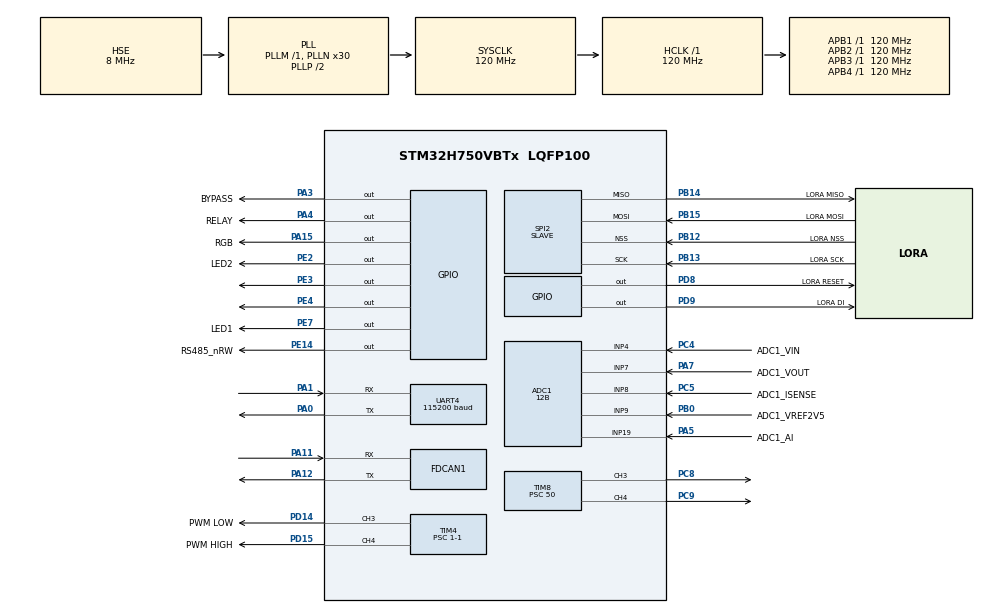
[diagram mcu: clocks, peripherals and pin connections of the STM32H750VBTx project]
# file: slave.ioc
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ADC1.Channel-5\#ChannelRegularConversion=ADC_CHANNEL_4
ADC1.Channel-6\#ChannelRegularConversion=ADC_CHANNEL_7
ADC1.Channel-7\#ChannelRegularConversion=ADC_CHANNEL_8
ADC1.Channel-8\#ChannelRegularConversion=ADC_CHANNEL_9
ADC1.Channel-9\#ChannelRegularConversion=ADC_CHANNEL_19
ADC1.ConversionDataManagement=ADC_CONVERSIONDATA_DMA_CIRCULAR
ADC1.EOCSelection=ADC_EOC_SEQ_CONV
ADC1.EnableAnalogWatchDog1=false
ADC1.NbrOfConversion=5
ADC1.NbrOfConversionFlag=1
ADC1.OffsetNumber-5\#ChannelRegularConversion=ADC_OFFSET_NONE
ADC1.OffsetNumber-6\#ChannelRegularConversion=ADC_OFFSET_NONE
ADC1.OffsetNumber-7\#ChannelRegularConversion=ADC_OFFSET_NONE
ADC1.OffsetNumber-8\#ChannelRegularConversion=ADC_OFFSET_NONE
ADC1.OffsetNumber-9\#ChannelRegularConversion=ADC_OFFSET_NONE
ADC1.OffsetSignedSaturation-5\#ChannelRegularConversion=DISABLE
ADC1.OffsetSignedSaturation-6\#ChannelRegularConversion=DISABLE
ADC1.OffsetSignedSaturation-7\#ChannelRegularConversion=DISABLE
ADC1.OffsetSignedSaturation-8\#ChannelRegularConversion=DISABLE
ADC1.OffsetSignedSaturation-9\#ChannelRegularConversion=DISABLE
ADC1.Rank-5\#ChannelRegularConversion=1
ADC1.Rank-6\#ChannelRegularConversion=2
ADC1.Rank-7\#ChannelRegularConversion=3
ADC1.Rank-8\#ChannelRegularConversion=4
ADC1.Rank-9\#ChannelRegularConversion=5
ADC1.Resolution=ADC_RESOLUTION_12B
ADC1.SamplingTime-5\#ChannelRegularConversion=ADC_SAMPLETIME_64CYCLES_5
ADC1.SamplingTime-6\#ChannelRegularConversion=ADC_SAMPLETIME_64CYCLES_5
ADC1.SamplingTime-7\#ChannelRegularConversion=ADC_SAMPLETIME_64CYCLES_5
ADC1.SamplingTime-8\#ChannelRegularConversion=ADC_SAMPLETIME_64CYCLES_5
ADC1.SamplingTime-9\#ChannelRegularConversion=ADC_SAMPLETIME_64CYCLES_5
ADC1.master=1
CORTEX_M7.default_mode_Activation=1
Dma.ADC1.0.Direction=DMA_PERIPH_TO_MEMORY
Dma.ADC1.0.EventEnable=DISABLE
Dma.ADC1.0.FIFOMode=DMA_FIFOMODE_DISABLE
Dma.ADC1.0.Instance=DMA1_Stream0
Dma.ADC1.0.MemDataAlignment=DMA_MDATAALIGN_HALFWORD
Dma.ADC1.0.MemInc=DMA_MINC_ENABLE
Dma.ADC1.0.Mode=DMA_CIRCULAR
Dma.ADC1.0.PeriphDataAlignment=DMA_PDATAALIGN_HALFWORD
Dma.ADC1.0.PeriphInc=DMA_PINC_DISABLE
Dma.ADC1.0.Polarity=HAL_DMAMUX_REQ_GEN_RISING
Dma.ADC1.0.Priority=DMA_PRIORITY_VERY_HIGH
Dma.ADC1.0.RequestNumber=1
Dma.ADC1.0.SignalID=NONE
Dma.ADC1.0.SyncEnable=DISABLE
Dma.ADC1.0.SyncPolarity=HAL_DMAMUX_SYNC_NO_EVENT
Dma.ADC1.0.SyncRequestNumber=1
Dma.ADC1.0.SyncSignalID=NONE
Dma.Request0=ADC1
Dma.Request1=UART4_TX
Dma.Request2=UART4_RX
Dma.UART4_RX.2.Direction=DMA_PERIPH_TO_MEMORY
Dma.UART4_RX.2.EventEnable=DISABLE
Dma.UART4_RX.2.FIFOMode=DMA_FIFOMODE_DISABLE
Dma.UART4_RX.2.Instance=DMA1_Stream2
Dma.UART4_RX.2.MemDataAlignment=DMA_MDATAALIGN_BYTE
Dma.UART4_RX.2.MemInc=DMA_MINC_ENABLE
Dma.UART4_RX.2.Mode=DMA_NORMAL
Dma.UART4_RX.2.PeriphDataAlignment=DMA_PDATAALIGN_BYTE
Dma.UART4_RX.2.PeriphInc=DMA_PINC_DISABLE
Dma.UART4_RX.2.Polarity=HAL_DMAMUX_REQ_GEN_RISING
Dma.UART4_RX.2.Priority=DMA_PRIORITY_LOW
Dma.UART4_RX.2.RequestNumber=1
Dma.UART4_RX.2.SignalID=NONE
Dma.UART4_RX.2.SyncEnable=DISABLE
Dma.UART4_RX.2.SyncPolarity=HAL_DMAMUX_SYNC_NO_EVENT
Dma.UART4_RX.2.SyncRequestNumber=1
Dma.UART4_RX.2.SyncSignalID=NONE
Dma.UART4_TX.1.Direction=DMA_MEMORY_TO_PERIPH
Dma.UART4_TX.1.EventEnable=DISABLE
Dma.UART4_TX.1.FIFOMode=DMA_FIFOMODE_DISABLE
Dma.UART4_TX.1.Instance=DMA1_Stream1
Dma.UART4_TX.1.MemDataAlignment=DMA_MDATAALIGN_BYTE
Dma.UART4_TX.1.MemInc=DMA_MINC_ENABLE
Dma.UART4_TX.1.Mode=DMA_NORMAL
Dma.UART4_TX.1.PeriphDataAlignment=DMA_PDATAALIGN_BYTE
Dma.UART4_TX.1.PeriphInc=DMA_PINC_DISABLE
Dma.UART4_TX.1.Polarity=HAL_DMAMUX_REQ_GEN_RISING
Dma.UART4_TX.1.Priority=DMA_PRIORITY_LOW
Dma.UART4_TX.1.RequestNumber=1
Dma.UART4_TX.1.SignalID=NONE
Dma.UART4_TX.1.SyncEnable=DISABLE
Dma.UART4_TX.1.SyncPolarity=HAL_DMAMUX_SYNC_NO_EVENT
Dma.UART4_TX.1.SyncRequestNumber=1
Dma.UART4_TX.1.SyncSignalID=NONE
FDCAN1.AutoRetransmission=ENABLE
FDCAN1.CalculateBaudRateNominal=166666
FDCAN1.CalculateTimeBitNominal=6000
FDCAN1.CalculateTimeQuantumNominal=2000.0
FDCAN1.RxFifo0ElmtsNbr=1
FDCAN1.StdFiltersNbr=1
FDCAN1.TxEventsNbr=4
Mcu.Family=STM32H7
Mcu.Name=STM32H750VBTx
Mcu.Package=LQFP100
NVIC.DMA1_Stream0_IRQn=true\:0\:0\:false\:false\:true\:false\:true\:true
NVIC.DMA1_Stream1_IRQn=true\:0\:0\:false\:false\:true\:false\:true\:true
NVIC.DMA1_Stream2_IRQn=true\:0\:0\:false\:false\:true\:false\:true\:true
NVIC.PriorityGroup=NVIC_PRIORITYGROUP_4
NVIC.TIM2_IRQn=true\:0\:0\:false\:false\:true\:true\:true\:true
NVIC.UART4_IRQn=true\:0\:0\:false\:false\:true\:true\:true\:true
PA0.GPIO_Speed=GPIO_SPEED_FREQ_VERY_HIGH
PA0.Mode=Asynchronous
PA0.Signal=UART4_TX
PA1.GPIO_Speed=GPIO_SPEED_FREQ_VERY_HIGH
PA1.Mode=Asynchronous
PA1.Signal=UART4_RX
PA11.Mode=FDCAN_Activate
PA11.Signal=FDCAN1_RX
PA12.Mode=FDCAN_Activate
PA12.Signal=FDCAN1_TX
PA13\ (JTMS/SWDIO).Mode=Serial_Wire
PA13\ (JTMS/SWDIO).Signal=DEBUG_JTMS-SWDIO
PA14\ (JTCK/SWCLK).Mode=Serial_Wire
PA14\ (JTCK/SWCLK).Signal=DEBUG_JTCK-SWCLK
PA15\ (JTDI).GPIO_Label=RGB
PA15\ (JTDI).Signal=GPIO_Output
PA3.GPIO_Label=BYPASS
PA3.Signal=GPIO_Output
PA4.GPIO_Label=RELAY
PA4.Signal=GPIO_Output
PA5.GPIO_Label=ADC1_AI
PA5.Signal=ADCx_INP19
PA7.GPIO_Label=ADC1_VOUT
PA7.Signal=ADCx_INP7
PB0.GPIO_Label=ADC1_VREF2V5
PB0.Signal=ADCx_INP9
PB12.GPIO_Label=LORA NSS
PB12.Mode=NSS_Signal_Hard_Input
PB12.Signal=SPI2_NSS
PB13.GPIO_Label=LORA SCK
PB13.Mode=Full_Duplex_Slave
PB13.Signal=SPI2_SCK
PB14.GPIO_Label=LORA MISO
PB14.Mode=Full_Duplex_Slave
PB14.Signal=SPI2_MISO
PB15.GPIO_Label=LORA MOSI
PB15.Mode=Full_Duplex_Slave
PB15.Signal=SPI2_MOSI
PC4.GPIO_Label=ADC1_VIN
PC4.Signal=ADCx_INP4
PC5.GPIO_Label=ADC1_ISENSE
PC5.Signal=ADCx_INP8
PC8.Signal=S_TIM8_CH3
PC9.Signal=S_TIM8_CH4
PD14.GPIO_Label=PWM LOW
PD14.Signal=S_TIM4_CH3
PD15.GPIO_Label=PWM HIGH
PD15.Signal=S_TIM4_CH4
PD8.GPIO_Label=LORA RESET
PD8.Signal=GPIO_Output
PD9.GPIO_Label=LORA DI
PD9.Signal=GPIO_Output
PE14.GPIO_Label=RS485_nRW
PE14.Signal=GPIO_Output
PE2.GPIO_Label=LED2
PE2.Signal=GPIO_Output
PE3.Signal=GPIO_Output
PE4.Signal=GPIO_Output
PE7.GPIO_Label=LED1
PE7.Signal=GPIO_Output
PH0-OSC_IN\ (PH0).Mode=HSE-External-Oscillator
PH0-OSC_IN\ (PH0).Signal=RCC_OSC_IN
PH1-OSC_OUT\ (PH1).Mode=HSE-External-Oscillator
PH1-OSC_OUT\ (PH1).Signal=RCC_OSC_OUT
ProjectManager.HeapSize=0x200
ProjectManager.StackSize=0x400
ProjectManager.TargetToolchain=MDK-ARM V5.32
RCC.ADCCLockSelection=RCC_ADCCLKSOURCE_CLKP
RCC.ADCFreq_Value=64000000
RCC.APB1Freq_Value=120000000
RCC.APB2Freq_Value=120000000
RCC.APB3Freq_Value=120000000
RCC.APB4Freq_Value=120000000
RCC.CortexFreq_Value=120000000
RCC.DIVM1=1
RCC.DIVM2=1
RCC.DIVN1=30
RCC.DIVN2=20
RCC.DIVQ1=3
RCC.DIVQ2=4
RCC.FDCANCLockSelection=RCC_FDCANCLKSOURCE_HSE
RCC.HCLKFreq_Value=120000000
RCC.HSE_VALUE=8000000
RCC.PLL2FRACN=0
RCC.PLL3FRACN=0
RCC.PLLFRACN=0
RCC.PLLSourceVirtual=RCC_PLLSOURCE_HSE
RCC.SYSCLKFreq_VALUE=120000000
RCC.SYSCLKSource=RCC_SYSCLKSOURCE_PLLCLK
RCC.USART234578CLockSelection=RCC_USART234578CLKSOURCE_PLL2
RCC.USBFreq_Value=80000000
SH.ADCx_INP19.0=ADC1_INP19,IN19-Single-Ended
SH.ADCx_INP4.0=ADC1_INP4,IN4-Single-Ended
SH.ADCx_INP7.0=ADC1_INP7,IN7-Single-Ended
SH.ADCx_INP8.0=ADC1_INP8,IN8-Single-Ended
SH.ADCx_INP9.0=ADC1_INP9,IN9-Single-Ended
SH.S_TIM4_CH3.0=TIM4_CH3,PWM Generation3 CH3
SH.S_TIM4_CH4.0=TIM4_CH4,PWM Generation4 CH4
SH.S_TIM8_CH3.0=TIM8_CH3,PWM Generation3 CH3
SH.S_TIM8_CH4.0=TIM8_CH4,PWM Generation4 CH4
SPI2.Direction=SPI_DIRECTION_2LINES
SPI2.Mode=SPI_MODE_SLAVE
SPI2.VirtualNSS=VM_NSSHARD
SPI2.VirtualType=VM_SLAVE
TIM2.Period=50-1
TIM2.Prescaler=60-1
TIM4.Channel-PWM\ Generation3\ CH3=TIM_CHANNEL_3
TIM4.Channel-PWM\ Generation4\ CH4=TIM_CHANNEL_4
TIM4.OCMode_PWM-PWM\ Generation4\ CH4=TIM_OCMODE_PWM2
TIM4.Period=1600-1
TIM4.Prescaler=1-1
TIM8.Channel-PWM\ Generation3\ CH3=TIM_CHANNEL_3
TIM8.Channel-PWM\ Generation4\ CH4=TIM_CHANNEL_4
TIM8.Prescaler=50
UART4.BaudRate=115200
UART4.FIFOMode=FIFOMODE_DISABLE
UART4.OverrunDisableParam=UART_ADVFEATURE_OVERRUN_ENABLE
VP_MEMORYMAP_VS_MEMORYMAP.Mode=CurAppReg
VP_TIM2_VS_ClockSourceINT.Mode=Internal
VP_TIM4_VS_ClockSourceINT.Mode=Internal
VP_TIM8_VS_ClockSourceINT.Mode=Internal
board=custom

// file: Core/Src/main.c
/* USER CODE BEGIN Header */
/**
  ******************************************************************************
  * @file           : main.c
  * @brief          : Main program body
  ******************************************************************************
  * @attention
  *
  * Copyright (c) 2026 STMicroelectronics.
  * All rights reserved.
  *
  * This software is licensed under terms that can be found in the LICENSE file
  * in the root directory of this software component.
  * If no LICENSE file comes with this software, it is provided AS-IS.
  *
  ******************************************************************************
  */
/* USER CODE END Header */
#include "main.h"

/* USER CODE BEGIN Includes */
#include "stdlib.h"
#include "stdio.h"
#include <string.h>
/* USER CODE END Includes */

ADC_HandleTypeDef hadc1;
DMA_HandleTypeDef hdma_adc1;

FDCAN_HandleTypeDef hfdcan1;

SPI_HandleTypeDef hspi2;

TIM_HandleTypeDef htim2;
TIM_HandleTypeDef htim4;
TIM_HandleTypeDef htim8;

UART_HandleTypeDef huart4;
DMA_HandleTypeDef hdma_uart4_tx;
DMA_HandleTypeDef hdma_uart4_rx;

/* USER CODE BEGIN PV */
const float f_base_Ts = 0.000025;
const float f_base_Tdk = 0.0001;
static uint32_t n = 0;
static uint32_t m = 0;
static uint8_t uart_tx_flag=0;
/* USER CODE END PV */

void SystemClock_Config(void);
void PeriphCommonClock_Config(void);
static void MPU_Config(void);
static void MX_GPIO_Init(void);
static void MX_DMA_Init(void);
static void MX_ADC1_Init(void);
static void MX_FDCAN1_Init(void);
static void MX_TIM2_Init(void);
static void MX_TIM4_Init(void);
static void MX_SPI2_Init(void);
static void MX_TIM8_Init(void);
static void MX_UART4_Init(void);
/* USER CODE BEGIN PFP */
machine_control mCtr;
machine_parameter mPara;
PWM PWM_Var;
//Controller
fuzzySet FzTi, FzAbsEk, FzKp;
cPI PIVarV, PIVarIb, PIVarIc;
SMC SMC_Ic;
ADC_Obj adc_Objt_var;
volatile uint16_t ADC_CH1[NumOfADC_Channel];
//LPF
/* Analog */
LPF LPF_Vin, LPF_Vout, LPF_I, LPF_Vdclink;
LPF LPF_AD_I_Offset;
/* Controller */
LPF LPF_DI;
//UART
usartData uart4_Tx, uart4_Rx;
UART_DATA uartdata;
/* USER CODE END PFP */

int main(void)
{

  /* MPU Configuration--------------------------------------------------------*/
  MPU_Config();

  /* MCU Configuration--------------------------------------------------------*/

  /* Reset of all peripherals, Initializes the Flash interface and the Systick. */
  HAL_Init();

  /* Configure the system clock */
  SystemClock_Config();

  /* Configure the peripherals common clocks */
  PeriphCommonClock_Config();

  /* Initialize all configured peripherals */
  MX_GPIO_Init();
  MX_DMA_Init();
  MX_ADC1_Init();
  MX_FDCAN1_Init();
  MX_TIM2_Init();
  MX_TIM4_Init();
  MX_SPI2_Init();
  MX_TIM8_Init();
  MX_UART4_Init();
  /* USER CODE BEGIN 2 */
MachineParameterConfig(&mPara);
	//LPF
	vLPF_Init(&LPF_Vin, 1000, f_base_Ts);
	vLPF_Init(&LPF_Vout, 1000, f_base_Ts);
	vLPF_Init(&LPF_Vdclink, 1000, f_base_Ts);
	vLPF_Init(&LPF_I, 1000, f_base_Ts);
	vLPF_Init(&LPF_AD_I_Offset, 1000, f_base_Ts);
	vLPF_Init(&LPF_DI, 2, f_base_Tdk);

	//PID
	vPI_Init(&PIVarV, f_base_Tdk, 0.0025, 0.004, 1, 50);
	vPI_Init(&PIVarIb, f_base_Tdk, 0.0024, 0.004, 1, 200);
	vPI_Init(&PIVarIc, f_base_Tdk, 0.0034, 0.003, 1, 200);
	//FZ
	fuzzyInit();
	//SMC
	SMC_Init(&SMC_Ic, 0.5, 7);
	//ADC
	vAdc_DataInit(&adc_Objt_var);
	//start PWM
	HAL_TIM_PWM_Start(&htim4, TIM_CHANNEL_3);
	HAL_TIM_PWM_Start(&htim4, TIM_CHANNEL_4);
	HAL_TIM_PWM_Start(&htim8, TIM_CHANNEL_3);
	HAL_TIM_PWM_Start(&htim8, TIM_CHANNEL_4);
	HAL_TIM_Base_Start_IT(&htim2);
	//vUsart_DataInit(&uart4_Rx);
	UART4_DMA_Init();
	StateMachine();
  /* USER CODE END 2 */

  /* Infinite loop */
  while (1)
  {
		if ((uart_tx_flag == 1U) && (uart4_tx_done_flag == 1U))
	    {
	        update_data_TX(&mCtr, &uartdata);

	        if (USER_UART_TxData(&uartdata) == HAL_OK)
	        {
	            uart_tx_flag = 0U;
	        }
	    }

	  if (uart4_rx_done_flag == 1U)
	    {
	        USER_UART_RxDataHandle();
	    }
  }
}

void SystemClock_Config(void)
{
  RCC_OscInitTypeDef RCC_OscInitStruct = {0};
  RCC_ClkInitTypeDef RCC_ClkInitStruct = {0};

  /** Supply configuration update enable
  */
  HAL_PWREx_ConfigSupply(PWR_LDO_SUPPLY);

  /** Configure the main internal regulator output voltage
  */
  __HAL_PWR_VOLTAGESCALING_CONFIG(PWR_REGULATOR_VOLTAGE_SCALE3);

  while(!__HAL_PWR_GET_FLAG(PWR_FLAG_VOSRDY)) {}

  /** Initializes the RCC Oscillators according to the specified parameters
  * in the RCC_OscInitTypeDef structure.
  */
  RCC_OscInitStruct.OscillatorType = RCC_OSCILLATORTYPE_HSI|RCC_OSCILLATORTYPE_HSE;
  RCC_OscInitStruct.HSEState = RCC_HSE_ON;
  RCC_OscInitStruct.HSIState = RCC_HSI_DIV1;
  RCC_OscInitStruct.HSICalibrationValue = RCC_HSICALIBRATION_DEFAULT;
  RCC_OscInitStruct.PLL.PLLState = RCC_PLL_ON;
  RCC_OscInitStruct.PLL.PLLSource = RCC_PLLSOURCE_HSE;
  RCC_OscInitStruct.PLL.PLLM = 1;
  RCC_OscInitStruct.PLL.PLLN = 30;
  RCC_OscInitStruct.PLL.PLLP = 2;
  RCC_OscInitStruct.PLL.PLLQ = 3;
  RCC_OscInitStruct.PLL.PLLR = 2;
  RCC_OscInitStruct.PLL.PLLRGE = RCC_PLL1VCIRANGE_3;
  RCC_OscInitStruct.PLL.PLLVCOSEL = RCC_PLL1VCOWIDE;
  RCC_OscInitStruct.PLL.PLLFRACN = 0;
  if (HAL_RCC_OscConfig(&RCC_OscInitStruct) != HAL_OK)
  {
    Error_Handler();
  }

  /** Initializes the CPU, AHB and APB buses clocks
  */
  RCC_ClkInitStruct.ClockType = RCC_CLOCKTYPE_HCLK|RCC_CLOCKTYPE_SYSCLK
                              |RCC_CLOCKTYPE_PCLK1|RCC_CLOCKTYPE_PCLK2
                              |RCC_CLOCKTYPE_D3PCLK1|RCC_CLOCKTYPE_D1PCLK1;
  RCC_ClkInitStruct.SYSCLKSource = RCC_SYSCLKSOURCE_PLLCLK;
  RCC_ClkInitStruct.SYSCLKDivider = RCC_SYSCLK_DIV1;
  RCC_ClkInitStruct.AHBCLKDivider = RCC_HCLK_DIV1;
  RCC_ClkInitStruct.APB3CLKDivider = RCC_APB3_DIV1;
  RCC_ClkInitStruct.APB1CLKDivider = RCC_APB1_DIV1;
  RCC_ClkInitStruct.APB2CLKDivider = RCC_APB2_DIV1;
  RCC_ClkInitStruct.APB4CLKDivider = RCC_APB4_DIV1;

  if (HAL_RCC_ClockConfig(&RCC_ClkInitStruct, FLASH_LATENCY_2) != HAL_OK)
  {
    Error_Handler();
  }
}

void PeriphCommonClock_Config(void)
{
  RCC_PeriphCLKInitTypeDef PeriphClkInitStruct = {0};

  /** Initializes the peripherals clock
  */
  PeriphClkInitStruct.PeriphClockSelection = RCC_PERIPHCLK_CKPER;
  PeriphClkInitStruct.CkperClockSelection = RCC_CLKPSOURCE_HSI;
  if (HAL_RCCEx_PeriphCLKConfig(&PeriphClkInitStruct) != HAL_OK)
  {
    Error_Handler();
  }
}

static void MX_ADC1_Init(void)
{

  ADC_MultiModeTypeDef multimode = {0};
  ADC_ChannelConfTypeDef sConfig = {0};

  /** Common config
  */
  hadc1.Instance = ADC1;
  hadc1.Init.ClockPrescaler = ADC_CLOCK_ASYNC_DIV2;
  hadc1.Init.Resolution = ADC_RESOLUTION_12B;
  hadc1.Init.ScanConvMode = ADC_SCAN_ENABLE;
  hadc1.Init.EOCSelection = ADC_EOC_SEQ_CONV;
  hadc1.Init.LowPowerAutoWait = DISABLE;
  hadc1.Init.ContinuousConvMode = DISABLE;
  hadc1.Init.NbrOfConversion = 5;
  hadc1.Init.DiscontinuousConvMode = DISABLE;
  hadc1.Init.ExternalTrigConv = ADC_SOFTWARE_START;
  hadc1.Init.ExternalTrigConvEdge = ADC_EXTERNALTRIGCONVEDGE_NONE;
  hadc1.Init.ConversionDataManagement = ADC_CONVERSIONDATA_DMA_CIRCULAR;
  hadc1.Init.Overrun = ADC_OVR_DATA_PRESERVED;
  hadc1.Init.LeftBitShift = ADC_LEFTBITSHIFT_NONE;
  hadc1.Init.OversamplingMode = DISABLE;
  hadc1.Init.Oversampling.Ratio = 1;
  if (HAL_ADC_Init(&hadc1) != HAL_OK)
  {
    Error_Handler();
  }

  /** Configure the ADC multi-mode
  */
  multimode.Mode = ADC_MODE_INDEPENDENT;
  if (HAL_ADCEx_MultiModeConfigChannel(&hadc1, &multimode) != HAL_OK)
  {
    Error_Handler();
  }

  /** Configure Regular Channel
  */
  sConfig.Channel = ADC_CHANNEL_4;
  sConfig.Rank = ADC_REGULAR_RANK_1;
  sConfig.SamplingTime = ADC_SAMPLETIME_64CYCLES_5;
  sConfig.SingleDiff = ADC_SINGLE_ENDED;
  sConfig.OffsetNumber = ADC_OFFSET_NONE;
  sConfig.Offset = 0;
  sConfig.OffsetSignedSaturation = DISABLE;
  if (HAL_ADC_ConfigChannel(&hadc1, &sConfig) != HAL_OK)
  {
    Error_Handler();
  }

  /** Configure Regular Channel
  */
  sConfig.Channel = ADC_CHANNEL_7;
  sConfig.Rank = ADC_REGULAR_RANK_2;
  if (HAL_ADC_ConfigChannel(&hadc1, &sConfig) != HAL_OK)
  {
    Error_Handler();
  }

  /** Configure Regular Channel
  */
  sConfig.Channel = ADC_CHANNEL_8;
  sConfig.Rank = ADC_REGULAR_RANK_3;
  if (HAL_ADC_ConfigChannel(&hadc1, &sConfig) != HAL_OK)
  {
    Error_Handler();
  }

  /** Configure Regular Channel
  */
  sConfig.Channel = ADC_CHANNEL_9;
  sConfig.Rank = ADC_REGULAR_RANK_4;
  if (HAL_ADC_ConfigChannel(&hadc1, &sConfig) != HAL_OK)
  {
    Error_Handler();
  }

  /** Configure Regular Channel
  */
  sConfig.Channel = ADC_CHANNEL_19;
  sConfig.Rank = ADC_REGULAR_RANK_5;
  if (HAL_ADC_ConfigChannel(&hadc1, &sConfig) != HAL_OK)
  {
    Error_Handler();
  }

}

static void MX_FDCAN1_Init(void)
{

  hfdcan1.Instance = FDCAN1;
  hfdcan1.Init.FrameFormat = FDCAN_FRAME_CLASSIC;
  hfdcan1.Init.Mode = FDCAN_MODE_NORMAL;
  hfdcan1.Init.AutoRetransmission = ENABLE;
  hfdcan1.Init.TransmitPause = DISABLE;
  hfdcan1.Init.ProtocolException = DISABLE;
  hfdcan1.Init.NominalPrescaler = 16;
  hfdcan1.Init.NominalSyncJumpWidth = 1;
  hfdcan1.Init.NominalTimeSeg1 = 1;
  hfdcan1.Init.NominalTimeSeg2 = 1;
  hfdcan1.Init.DataPrescaler = 1;
  hfdcan1.Init.DataSyncJumpWidth = 1;
  hfdcan1.Init.DataTimeSeg1 = 1;
  hfdcan1.Init.DataTimeSeg2 = 1;
  hfdcan1.Init.MessageRAMOffset = 0;
  hfdcan1.Init.StdFiltersNbr = 1;
  hfdcan1.Init.ExtFiltersNbr = 0;
  hfdcan1.Init.RxFifo0ElmtsNbr = 1;
  hfdcan1.Init.RxFifo0ElmtSize = FDCAN_DATA_BYTES_8;
  hfdcan1.Init.RxFifo1ElmtsNbr = 0;
  hfdcan1.Init.RxFifo1ElmtSize = FDCAN_DATA_BYTES_8;
  hfdcan1.Init.RxBuffersNbr = 0;
  hfdcan1.Init.RxBufferSize = FDCAN_DATA_BYTES_8;
  hfdcan1.Init.TxEventsNbr = 4;
  hfdcan1.Init.TxBuffersNbr = 0;
  hfdcan1.Init.TxFifoQueueElmtsNbr = 0;
  hfdcan1.Init.TxFifoQueueMode = FDCAN_TX_FIFO_OPERATION;
  hfdcan1.Init.TxElmtSize = FDCAN_DATA_BYTES_8;
  if (HAL_FDCAN_Init(&hfdcan1) != HAL_OK)
  {
    Error_Handler();
  }

}

static void MX_SPI2_Init(void)
{

  /* SPI2 parameter configuration*/
  hspi2.Instance = SPI2;
  hspi2.Init.Mode = SPI_MODE_SLAVE;
  hspi2.Init.Direction = SPI_DIRECTION_2LINES;
  hspi2.Init.DataSize = SPI_DATASIZE_4BIT;
  hspi2.Init.CLKPolarity = SPI_POLARITY_LOW;
  hspi2.Init.CLKPhase = SPI_PHASE_1EDGE;
  hspi2.Init.NSS = SPI_NSS_HARD_INPUT;
  hspi2.Init.FirstBit = SPI_FIRSTBIT_MSB;
  hspi2.Init.TIMode = SPI_TIMODE_DISABLE;
  hspi2.Init.CRCCalculation = SPI_CRCCALCULATION_DISABLE;
  hspi2.Init.CRCPolynomial = 0x0;
  hspi2.Init.NSSPMode = SPI_NSS_PULSE_DISABLE;
  hspi2.Init.NSSPolarity = SPI_NSS_POLARITY_LOW;
  hspi2.Init.FifoThreshold = SPI_FIFO_THRESHOLD_01DATA;
  hspi2.Init.TxCRCInitializationPattern = SPI_CRC_INITIALIZATION_ALL_ZERO_PATTERN;
  hspi2.Init.RxCRCInitializationPattern = SPI_CRC_INITIALIZATION_ALL_ZERO_PATTERN;
  hspi2.Init.MasterSSIdleness = SPI_MASTER_SS_IDLENESS_00CYCLE;
  hspi2.Init.MasterInterDataIdleness = SPI_MASTER_INTERDATA_IDLENESS_00CYCLE;
  hspi2.Init.MasterReceiverAutoSusp = SPI_MASTER_RX_AUTOSUSP_DISABLE;
  hspi2.Init.MasterKeepIOState = SPI_MASTER_KEEP_IO_STATE_DISABLE;
  hspi2.Init.IOSwap = SPI_IO_SWAP_DISABLE;
  if (HAL_SPI_Init(&hspi2) != HAL_OK)
  {
    Error_Handler();
  }

}

static void MX_TIM2_Init(void)
{

  TIM_ClockConfigTypeDef sClockSourceConfig = {0};
  TIM_MasterConfigTypeDef sMasterConfig = {0};

  htim2.Instance = TIM2;
  htim2.Init.Prescaler = 60-1;
  htim2.Init.CounterMode = TIM_COUNTERMODE_UP;
  htim2.Init.Period = 50-1;
  htim2.Init.ClockDivision = TIM_CLOCKDIVISION_DIV1;
  htim2.Init.AutoReloadPreload = TIM_AUTORELOAD_PRELOAD_DISABLE;
  if (HAL_TIM_Base_Init(&htim2) != HAL_OK)
  {
    Error_Handler();
  }
  sClockSourceConfig.ClockSource = TIM_CLOCKSOURCE_INTERNAL;
  if (HAL_TIM_ConfigClockSource(&htim2, &sClockSourceConfig) != HAL_OK)
  {
    Error_Handler();
  }
  sMasterConfig.MasterOutputTrigger = TIM_TRGO_RESET;
  sMasterConfig.MasterSlaveMode = TIM_MASTERSLAVEMODE_DISABLE;
  if (HAL_TIMEx_MasterConfigSynchronization(&htim2, &sMasterConfig) != HAL_OK)
  {
    Error_Handler();
  }

}

static void MX_TIM4_Init(void)
{

  TIM_ClockConfigTypeDef sClockSourceConfig = {0};
  TIM_MasterConfigTypeDef sMasterConfig = {0};
  TIM_OC_InitTypeDef sConfigOC = {0};

  htim4.Instance = TIM4;
  htim4.Init.Prescaler = 1-1;
  htim4.Init.CounterMode = TIM_COUNTERMODE_UP;
  htim4.Init.Period = 1600-1;
  htim4.Init.ClockDivision = TIM_CLOCKDIVISION_DIV1;
  htim4.Init.AutoReloadPreload = TIM_AUTORELOAD_PRELOAD_DISABLE;
  if (HAL_TIM_Base_Init(&htim4) != HAL_OK)
  {
    Error_Handler();
  }
  sClockSourceConfig.ClockSource = TIM_CLOCKSOURCE_INTERNAL;
  if (HAL_TIM_ConfigClockSource(&htim4, &sClockSourceConfig) != HAL_OK)
  {
    Error_Handler();
  }
  if (HAL_TIM_PWM_Init(&htim4) != HAL_OK)
  {
    Error_Handler();
  }
  sMasterConfig.MasterOutputTrigger = TIM_TRGO_RESET;
  sMasterConfig.MasterSlaveMode = TIM_MASTERSLAVEMODE_DISABLE;
  if (HAL_TIMEx_MasterConfigSynchronization(&htim4, &sMasterConfig) != HAL_OK)
  {
    Error_Handler();
  }
  sConfigOC.OCMode = TIM_OCMODE_PWM1;
  sConfigOC.Pulse = 0;
  sConfigOC.OCPolarity = TIM_OCPOLARITY_HIGH;
  sConfigOC.OCFastMode = TIM_OCFAST_DISABLE;
  if (HAL_TIM_PWM_ConfigChannel(&htim4, &sConfigOC, TIM_CHANNEL_3) != HAL_OK)
  {
    Error_Handler();
  }
  sConfigOC.OCMode = TIM_OCMODE_PWM2;
  if (HAL_TIM_PWM_ConfigChannel(&htim4, &sConfigOC, TIM_CHANNEL_4) != HAL_OK)
  {
    Error_Handler();
  }
  HAL_TIM_MspPostInit(&htim4);

}

static void MX_TIM8_Init(void)
{

  TIM_ClockConfigTypeDef sClockSourceConfig = {0};
  TIM_MasterConfigTypeDef sMasterConfig = {0};
  TIM_OC_InitTypeDef sConfigOC = {0};
  TIM_BreakDeadTimeConfigTypeDef sBreakDeadTimeConfig = {0};

  htim8.Instance = TIM8;
  htim8.Init.Prescaler = 50;
  htim8.Init.CounterMode = TIM_COUNTERMODE_UP;
  htim8.Init.Period = 65535;
  htim8.Init.ClockDivision = TIM_CLOCKDIVISION_DIV1;
  htim8.Init.RepetitionCounter = 0;
  htim8.Init.AutoReloadPreload = TIM_AUTORELOAD_PRELOAD_DISABLE;
  if (HAL_TIM_Base_Init(&htim8) != HAL_OK)
  {
    Error_Handler();
  }
  sClockSourceConfig.ClockSource = TIM_CLOCKSOURCE_INTERNAL;
  if (HAL_TIM_ConfigClockSource(&htim8, &sClockSourceConfig) != HAL_OK)
  {
    Error_Handler();
  }
  if (HAL_TIM_PWM_Init(&htim8) != HAL_OK)
  {
    Error_Handler();
  }
  sMasterConfig.MasterOutputTrigger = TIM_TRGO_RESET;
  sMasterConfig.MasterOutputTrigger2 = TIM_TRGO2_RESET;
  sMasterConfig.MasterSlaveMode = TIM_MASTERSLAVEMODE_DISABLE;
  if (HAL_TIMEx_MasterConfigSynchronization(&htim8, &sMasterConfig) != HAL_OK)
  {
    Error_Handler();
  }
  sConfigOC.OCMode = TIM_OCMODE_PWM1;
  sConfigOC.Pulse = 0;
  sConfigOC.OCPolarity = TIM_OCPOLARITY_HIGH;
  sConfigOC.OCNPolarity = TIM_OCNPOLARITY_HIGH;
  sConfigOC.OCFastMode = TIM_OCFAST_DISABLE;
  sConfigOC.OCIdleState = TIM_OCIDLESTATE_RESET;
  sConfigOC.OCNIdleState = TIM_OCNIDLESTATE_RESET;
  if (HAL_TIM_PWM_ConfigChannel(&htim8, &sConfigOC, TIM_CHANNEL_3) != HAL_OK)
  {
    Error_Handler();
  }
  if (HAL_TIM_PWM_ConfigChannel(&htim8, &sConfigOC, TIM_CHANNEL_4) != HAL_OK)
  {
    Error_Handler();
  }
  sBreakDeadTimeConfig.OffStateRunMode = TIM_OSSR_DISABLE;
  sBreakDeadTimeConfig.OffStateIDLEMode = TIM_OSSI_DISABLE;
  sBreakDeadTimeConfig.LockLevel = TIM_LOCKLEVEL_OFF;
  sBreakDeadTimeConfig.DeadTime = 0;
  sBreakDeadTimeConfig.BreakState = TIM_BREAK_DISABLE;
  sBreakDeadTimeConfig.BreakPolarity = TIM_BREAKPOLARITY_HIGH;
  sBreakDeadTimeConfig.BreakFilter = 0;
  sBreakDeadTimeConfig.Break2State = TIM_BREAK2_DISABLE;
  sBreakDeadTimeConfig.Break2Polarity = TIM_BREAK2POLARITY_HIGH;
  sBreakDeadTimeConfig.Break2Filter = 0;
  sBreakDeadTimeConfig.AutomaticOutput = TIM_AUTOMATICOUTPUT_DISABLE;
  if (HAL_TIMEx_ConfigBreakDeadTime(&htim8, &sBreakDeadTimeConfig) != HAL_OK)
  {
    Error_Handler();
  }
  HAL_TIM_MspPostInit(&htim8);

}

static void MX_UART4_Init(void)
{

  huart4.Instance = UART4;
  huart4.Init.BaudRate = 115200;
  huart4.Init.WordLength = UART_WORDLENGTH_8B;
  huart4.Init.StopBits = UART_STOPBITS_1;
  huart4.Init.Parity = UART_PARITY_NONE;
  huart4.Init.Mode = UART_MODE_TX_RX;
  huart4.Init.HwFlowCtl = UART_HWCONTROL_NONE;
  huart4.Init.OverSampling = UART_OVERSAMPLING_16;
  huart4.Init.OneBitSampling = UART_ONE_BIT_SAMPLE_DISABLE;
  huart4.Init.ClockPrescaler = UART_PRESCALER_DIV1;
  huart4.AdvancedInit.AdvFeatureInit = UART_ADVFEATURE_NO_INIT;
  if (HAL_UART_Init(&huart4) != HAL_OK)
  {
    Error_Handler();
  }
  if (HAL_UARTEx_SetTxFifoThreshold(&huart4, UART_TXFIFO_THRESHOLD_1_8) != HAL_OK)
  {
    Error_Handler();
  }
  if (HAL_UARTEx_SetRxFifoThreshold(&huart4, UART_RXFIFO_THRESHOLD_1_8) != HAL_OK)
  {
    Error_Handler();
  }
  if (HAL_UARTEx_DisableFifoMode(&huart4) != HAL_OK)
  {
    Error_Handler();
  }

}

static void MX_DMA_Init(void)
{

  /* DMA controller clock enable */
  __HAL_RCC_DMA1_CLK_ENABLE();

  /* DMA interrupt init */
  /* DMA1_Stream0_IRQn interrupt configuration */
  HAL_NVIC_SetPriority(DMA1_Stream0_IRQn, 0, 0);
  HAL_NVIC_EnableIRQ(DMA1_Stream0_IRQn);
  /* DMA1_Stream1_IRQn interrupt configuration */
  HAL_NVIC_SetPriority(DMA1_Stream1_IRQn, 0, 0);
  HAL_NVIC_EnableIRQ(DMA1_Stream1_IRQn);
  /* DMA1_Stream2_IRQn interrupt configuration */
  HAL_NVIC_SetPriority(DMA1_Stream2_IRQn, 0, 0);
  HAL_NVIC_EnableIRQ(DMA1_Stream2_IRQn);

}

static void MX_GPIO_Init(void)
{
  GPIO_InitTypeDef GPIO_InitStruct = {0};

  /* GPIO Ports Clock Enable */
  __HAL_RCC_GPIOE_CLK_ENABLE();
  __HAL_RCC_GPIOC_CLK_ENABLE();
  __HAL_RCC_GPIOH_CLK_ENABLE();
  __HAL_RCC_GPIOA_CLK_ENABLE();
  __HAL_RCC_GPIOB_CLK_ENABLE();
  __HAL_RCC_GPIOD_CLK_ENABLE();

  /*Configure GPIO pin Output Level */
  HAL_GPIO_WritePin(GPIOE, LED2_Pin|GPIO_PIN_3|GPIO_PIN_4|LED1_Pin
                          |RS485_nRW_Pin, GPIO_PIN_RESET);

  /*Configure GPIO pin Output Level */
  HAL_GPIO_WritePin(GPIOA, BYPASS_Pin|RELAY_Pin|RGB_Pin, GPIO_PIN_RESET);

  /*Configure GPIO pin Output Level */
  HAL_GPIO_WritePin(GPIOD, LORA_RESET_Pin|LORA_DI_Pin, GPIO_PIN_RESET);

  /*Configure GPIO pins : LED2_Pin PE3 PE4 LED1_Pin
                           RS485_nRW_Pin */
  GPIO_InitStruct.Pin = LED2_Pin|GPIO_PIN_3|GPIO_PIN_4|LED1_Pin
                          |RS485_nRW_Pin;
  GPIO_InitStruct.Mode = GPIO_MODE_OUTPUT_PP;
  GPIO_InitStruct.Pull = GPIO_NOPULL;
  GPIO_InitStruct.Speed = GPIO_SPEED_FREQ_LOW;
  HAL_GPIO_Init(GPIOE, &GPIO_InitStruct);

  /*Configure GPIO pins : PE5 PE6 PE8 PE9
                           PE10 PE11 PE12 PE13
                           PE15 PE0 PE1 */
  GPIO_InitStruct.Pin = GPIO_PIN_5|GPIO_PIN_6|GPIO_PIN_8|GPIO_PIN_9
                          |GPIO_PIN_10|GPIO_PIN_11|GPIO_PIN_12|GPIO_PIN_13
                          |GPIO_PIN_15|GPIO_PIN_0|GPIO_PIN_1;
  GPIO_InitStruct.Mode = GPIO_MODE_ANALOG;
  GPIO_InitStruct.Pull = GPIO_NOPULL;
  HAL_GPIO_Init(GPIOE, &GPIO_InitStruct);

  /*Configure GPIO pins : PC13 PC14 PC15 PC0
                           PC1 PC2 PC3 PC6
                           PC7 PC10 PC11 PC12 */
  GPIO_InitStruct.Pin = GPIO_PIN_13|GPIO_PIN_14|GPIO_PIN_15|GPIO_PIN_0
                          |GPIO_PIN_1|GPIO_PIN_2|GPIO_PIN_3|GPIO_PIN_6
                          |GPIO_PIN_7|GPIO_PIN_10|GPIO_PIN_11|GPIO_PIN_12;
  GPIO_InitStruct.Mode = GPIO_MODE_ANALOG;
  GPIO_InitStruct.Pull = GPIO_NOPULL;
  HAL_GPIO_Init(GPIOC, &GPIO_InitStruct);

  /*Configure GPIO pins : PA2 PA6 PA8 PA9
                           PA10 */
  GPIO_InitStruct.Pin = GPIO_PIN_2|GPIO_PIN_6|GPIO_PIN_8|GPIO_PIN_9
                          |GPIO_PIN_10;
  GPIO_InitStruct.Mode = GPIO_MODE_ANALOG;
  GPIO_InitStruct.Pull = GPIO_NOPULL;
  HAL_GPIO_Init(GPIOA, &GPIO_InitStruct);

  /*Configure GPIO pins : BYPASS_Pin RELAY_Pin RGB_Pin */
  GPIO_InitStruct.Pin = BYPASS_Pin|RELAY_Pin|RGB_Pin;
  GPIO_InitStruct.Mode = GPIO_MODE_OUTPUT_PP;
  GPIO_InitStruct.Pull = GPIO_NOPULL;
  GPIO_InitStruct.Speed = GPIO_SPEED_FREQ_LOW;
  HAL_GPIO_Init(GPIOA, &GPIO_InitStruct);

  /*Configure GPIO pins : PB1 PB2 PB10 PB11
                           PB3 PB4 PB5 PB6
                           PB7 PB8 PB9 */
  GPIO_InitStruct.Pin = GPIO_PIN_1|GPIO_PIN_2|GPIO_PIN_10|GPIO_PIN_11
                          |GPIO_PIN_3|GPIO_PIN_4|GPIO_PIN_5|GPIO_PIN_6
                          |GPIO_PIN_7|GPIO_PIN_8|GPIO_PIN_9;
  GPIO_InitStruct.Mode = GPIO_MODE_ANALOG;
  GPIO_InitStruct.Pull = GPIO_NOPULL;
  HAL_GPIO_Init(GPIOB, &GPIO_InitStruct);

  /*Configure GPIO pins : LORA_RESET_Pin LORA_DI_Pin */
  GPIO_InitStruct.Pin = LORA_RESET_Pin|LORA_DI_Pin;
  GPIO_InitStruct.Mode = GPIO_MODE_OUTPUT_PP;
  GPIO_InitStruct.Pull = GPIO_NOPULL;
  GPIO_InitStruct.Speed = GPIO_SPEED_FREQ_LOW;
  HAL_GPIO_Init(GPIOD, &GPIO_InitStruct);

  /*Configure GPIO pins : PD10 PD11 PD12 PD13
                           PD0 PD1 PD2 PD3
                           PD4 PD5 PD6 PD7 */
  GPIO_InitStruct.Pin = GPIO_PIN_10|GPIO_PIN_11|GPIO_PIN_12|GPIO_PIN_13
                          |GPIO_PIN_0|GPIO_PIN_1|GPIO_PIN_2|GPIO_PIN_3
                          |GPIO_PIN_4|GPIO_PIN_5|GPIO_PIN_6|GPIO_PIN_7;
  GPIO_InitStruct.Mode = GPIO_MODE_ANALOG;
  GPIO_InitStruct.Pull = GPIO_NOPULL;
  HAL_GPIO_Init(GPIOD, &GPIO_InitStruct);

}

/* USER CODE BEGIN 4 */
void HAL_TIM_PeriodElapsedCallback(TIM_HandleTypeDef *htim)
{
  /* Prevent unused argument(s) compilation warning */
  UNUSED(htim);
	if (htim->Instance == TIM2)
	{
		StateMachine();
 	}

}
/* USER CODE END 4 */

 /* MPU Configuration */

void MPU_Config(void)
{
  MPU_Region_InitTypeDef MPU_InitStruct = {0};

  /* Disables the MPU */
  HAL_MPU_Disable();

  /** Initializes and configures the Region and the memory to be protected
  */
  MPU_InitStruct.Enable = MPU_REGION_ENABLE;
  MPU_InitStruct.Number = MPU_REGION_NUMBER0;
  MPU_InitStruct.BaseAddress = 0x0;
  MPU_InitStruct.Size = MPU_REGION_SIZE_4GB;
  MPU_InitStruct.SubRegionDisable = 0x87;
  MPU_InitStruct.TypeExtField = MPU_TEX_LEVEL0;
  MPU_InitStruct.AccessPermission = MPU_REGION_NO_ACCESS;
  MPU_InitStruct.DisableExec = MPU_INSTRUCTION_ACCESS_DISABLE;
  MPU_InitStruct.IsShareable = MPU_ACCESS_SHAREABLE;
  MPU_InitStruct.IsCacheable = MPU_ACCESS_NOT_CACHEABLE;
  MPU_InitStruct.IsBufferable = MPU_ACCESS_NOT_BUFFERABLE;

  HAL_MPU_ConfigRegion(&MPU_InitStruct);
  /* Enables the MPU */
  HAL_MPU_Enable(MPU_PRIVILEGED_DEFAULT);

}

void Error_Handler(void)
{
  __disable_irq();
  while (1)
  {
  }
}
